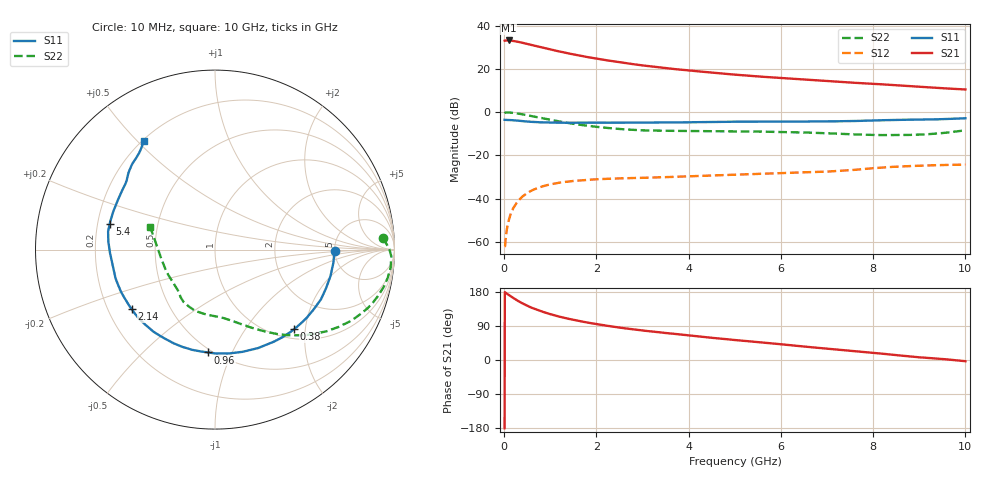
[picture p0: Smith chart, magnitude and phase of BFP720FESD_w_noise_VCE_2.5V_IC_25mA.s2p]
! Infineon Technologies  Discrete & RF Semiconductors
! BFP720FESD
! VCE =  2.5 V,  IC =  25 mA
! Common Emitter S-Parameters:  Jan 2016
# GHz  S  MA  R  50
!  f  S11  S21  S12  S22
! GHz  MAG  ANG  MAG  ANG  MAG  ANG  MAG  ANG
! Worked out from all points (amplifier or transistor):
!   233 points, 10 MHz to 10 GHz, reference 50 ohm
!   highest |S21| = 33.2 dB at 100 MHz (marker M1)
!   |S21| within 3 dB of that: start of sweep to 766.9 MHz
!   unconditionally stable (mu >= 1): 5.209 GHz to end of sweep
!   at 200 MHz: K = 0.11, MSG = 38.6 dB, |S12| = -44.3 dB
!   at 1.74 GHz: K = 0.49, MSG = 28.6 dB, |S12| = -31.4 dB
!   at 10 GHz: K = 1.14, MAG = 15.0 dB, |S12| = -24.2 dB
!   lowest NFmin = 1.08 dB at 450 MHz
!   S11 on the Smith chart (normalised r, x): 10 MHz: 5.01, -0.11; 380 MHz: 1.19, -1.74; 960 MHz: 0.48, -0.81; 2.14 GHz: 0.30, -0.30; 5.4 GHz: 0.25, +0.11; 10 GHz: 0.21, +0.53
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0.01  0.6675 -0.5  44.88 -180.0  0.0008 116.4  0.94 3.9
0.02  0.664 -2.8  45.37 178.4  0.0008 88.9  0.9716 0.1
0.1  0.6602 -12.9  45.5 172.0  0.0031 84.0  0.9837 -5.9
0.2  0.6521 -25.1  44.35 163.6  0.0061 78.2  0.9627 -12.5
0.24  0.6448 -29.7  43.51 160.3  0.0071 76.0  0.95 -14.8
0.3  0.6366 -36.7  42.41 155.9  0.0088 73.4  0.9295 -18.3
0.38  0.6247 -45.3  40.6 150.5  0.0108 69.7  0.8987 -22.4
0.5  0.6089 -57.4  37.85 143.1  0.0135 64.9  0.8509 -28.1
0.6  0.5988 -66.4  35.66 137.7  0.0155 61.1  0.8104 -32.2
0.8  0.5836 -82.7  31.57 128.6  0.0188 55.1  0.7356 -39.4
0.96  0.5746 -93.9  28.83 122.5  0.0209 50.9  0.6815 -44.4
1.1  0.5727 -102.7  26.67 117.6  0.0225 47.9  0.6388 -48.4
1.3  0.5707 -113.6  23.99 111.4  0.0243 44.1  0.5847 -53.6
1.68  0.5704 -130.0  19.94 101.6  0.0267 38.9  0.5054 -61.8
2.14  0.5707 -144.3  16.38 92.2  0.0285 35.2  0.4429 -70.2
2.78  0.5745 -159.8  12.96 81.0  0.0301 32.2  0.3905 -81.1
3.4  0.5761 -170.0  10.72 72.7  0.0313 32.5  0.3732 -88.2
5.1  0.6037 169.3  7.238 51.7  0.0362 34.3  0.3595 -105.3
5.4  0.6038 166.2  6.828 48.4  0.0372 34.5  0.3574 -108.2
6.8  0.6103 149.7  5.424 32.2  0.0417 36.3  0.3319 -124.0
8.4  0.6595 135.0  4.267 14.1  0.0543 36.9  0.2961 -152.1
10  0.7239 123.0  3.349 -3.2  0.0616 28.8  0.3812 161.0
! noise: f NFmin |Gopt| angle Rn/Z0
0.45  1.08  0.05  -156  0.11
2.4  1.1  0.07  -150  0.13
5.5  1.29  0.18  170  0.11
10  1.76  0.32  -118  0.19
